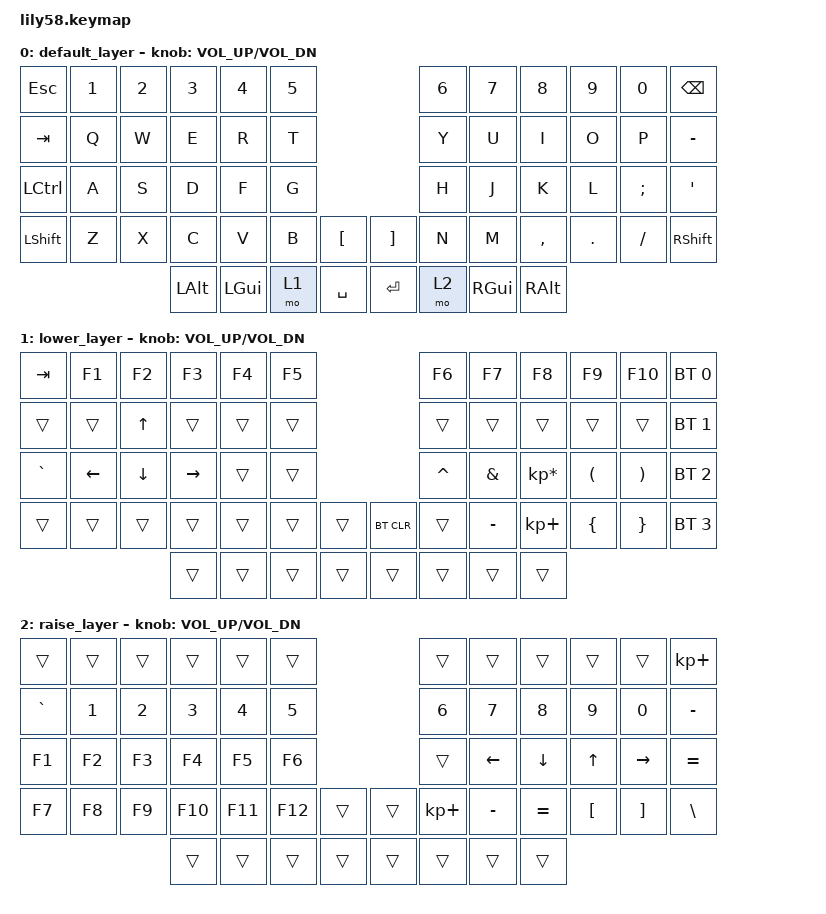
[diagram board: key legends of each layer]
/*
 * Copyright (c) 2020 The ZMK Contributors
 *
 * SPDX-License-Identifier: MIT
 */

#include <behaviors.dtsi>
#include <dt-bindings/zmk/keys.h>
#include <dt-bindings/zmk/bt.h>
#include <dt-bindings/zmk/ext_power.h>

/ {
	keymap {
		compatible = "zmk,keymap";

		default_layer {
// ------------------------------------------------------------------------------------------------------------
// |  ESC  |  1  |  2  |  3   |  4   |  5   |                   |  6   |  7    |  8    |  9   |   0   | BACKSPACE |
// |  TAB  |  Q  |  W  |  E   |  R   |  T   |                   |  Y   |  U    |  I    |  O   |   P   |   -   |
// |  CTRL |  A  |  S  |  D   |  F   |  G   |                   |  H   |  J    |  K    |  L   |   ;   |   '   |
// | SHIFT |  Z  |  X  |  C   |  V   |  B   |   "["  |  |  "]"  |  N   |  M    |  ,    |  .   |   /   | SHIFT |
//                     | ALT  | GUI  | LOWER|  SPACE |  | ENTER | RAISE| GUI  | ALT   |
			bindings = <
&kp ESC   &kp N1 &kp N2 &kp N3   &kp N4   &kp N5                     &kp N6 &kp N7   &kp N8    &kp N9  &kp N0   &kp BACKSPACE
&kp TAB   &kp Q  &kp W  &kp E    &kp R    &kp T                      &kp Y  &kp U    &kp I     &kp O   &kp P    &kp MINUS
&kp LCTRL &kp A  &kp S  &kp D    &kp F    &kp G                      &kp H  &kp J    &kp K     &kp L   &kp SEMI &kp SQT
&kp LSHFT &kp Z  &kp X  &kp C    &kp V    &kp B  &kp LBKT   &kp RBKT &kp N  &kp M    &kp COMMA &kp DOT &kp FSLH &kp RSHFT
                        &kp LALT &kp LGUI &mo 1  &kp SPACE  &kp RET  &mo 2  &kp RGUI &kp RALT
			>;

			sensor-bindings = <&inc_dec_kp C_VOL_UP C_VOL_DN>;
		};

		lower_layer {
// ------------------------------------------------------------------------------------------------------------
// |  TAB  | F 1 | F 2 |  F 3 |  F 4 |  F 5 |                   |      |       |       |      |       |       |
// |       |    |  UP  |      |      |      |                   |  F7  |  F8   |  F9   |  F10 |  F11  |  F12  |
// |       | Le | down |  Ri  |      |      |                   |  ^   |  &    |  *    |  (   |   )   |   ~   |
// |       |    |      |      |      |      | BTCLR  |  |       |      |  _    |  +    |  {   |   }   |  "|"  |
//                     |      |      |      |        |  |       |      |       |       |
			bindings = <
&kp TAB    &kp F1           &kp F2        &kp F3            &kp F4       &kp F5                           &kp F6    &kp F7    &kp F8          &kp F9    &kp F10    &bt BT_SEL 0
&trans     &trans           &kp UP        &trans            &trans       &trans                           &trans    &trans    &trans          &trans    &trans     &bt BT_SEL 1
&kp GRAVE  &kp LEFT         &kp DOWN      &kp RIGHT         &trans       &trans                        &kp CARET &kp AMPS  &kp KP_MULTIPLY &kp LPAR  &kp RPAR  &bt BT_SEL 2
&trans     &trans           &trans        &trans            &trans       &trans    &trans      &bt BT_CLR &trans    &kp MINUS &kp KP_PLUS &kp LBRC  &kp RBRC  &bt BT_SEL 3
                                          &trans            &trans       &trans    &trans       &trans    &trans    &trans    &trans
			>;

			sensor-bindings = <&inc_dec_kp C_VOL_UP C_VOL_DN>;
		};

		raise_layer {
// ------------------------------------------------------------------------------------------------------------
// |       |     |     |      |      |      |                   |      |       |       |      |       |   +   |
// |   `   |  1  |  2  |  3   |  4   |  5   |                   |  6   |   7   |   8   |  9   |   0   |   -    |
// |   F1  |  F2 |  F3 |  F4  |  F5  |  F6  |                   |      |   <-  |   ^   |  v   |  ->   |   =   |
// |   F7  |  F8 |  F9 |  F10 |  F11 |  F12 |        |  |       |  +   |   -   |   =   |  [   |   ]   |   \   |
//                     |      |      |      |        |  |       |      |       |       |
			bindings = <
&trans    &trans &trans &trans  &trans  &trans                       &trans      &trans    &trans    &trans   &trans    &kp KP_PLUS
&kp GRAVE &kp N1 &kp N2 &kp N3  &kp N4  &kp N5                       &kp N6      &kp N7    &kp N8    &kp N9   &kp N0    &kp MINUS
&kp F1    &kp F2 &kp F3 &kp F4  &kp F5  &kp F6                       &trans      &kp LEFT  &kp DOWN  &kp UP   &kp RIGHT &kp EQUAL
&kp F7    &kp F8 &kp F9 &kp F10 &kp F11 &kp F12   &trans   &trans    &kp KP_PLUS &kp MINUS &kp EQUAL &kp LBKT &kp RBKT  &kp BSLH
                        &trans  &trans  &trans    &trans   &trans    &trans      &trans    &trans
			>;

			sensor-bindings = <&inc_dec_kp C_VOL_UP C_VOL_DN>;
		};
	};
};
